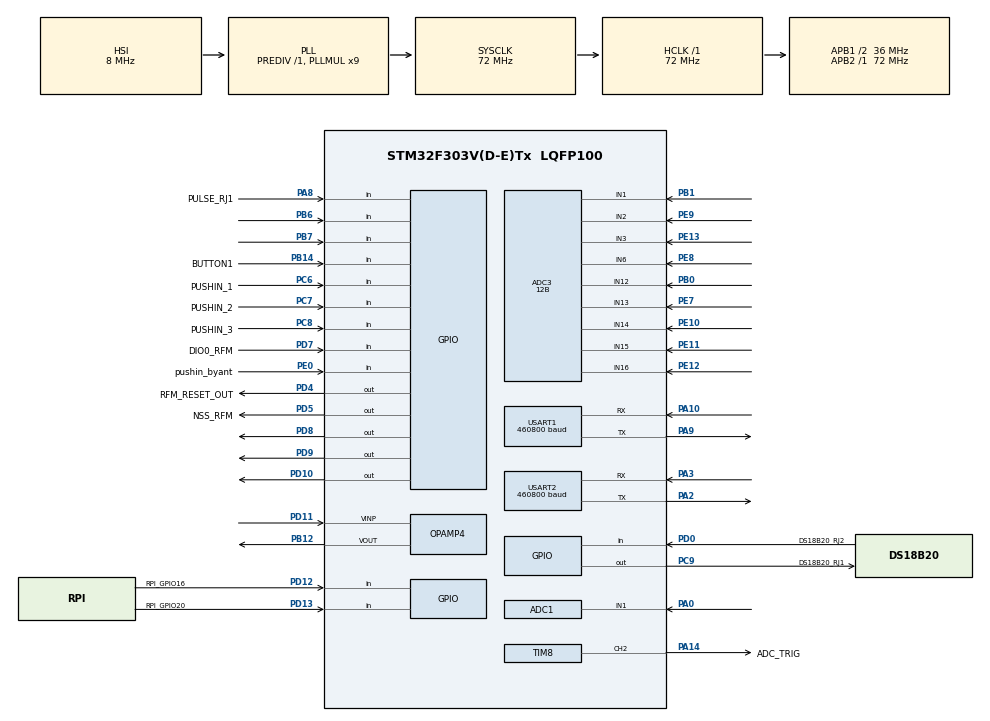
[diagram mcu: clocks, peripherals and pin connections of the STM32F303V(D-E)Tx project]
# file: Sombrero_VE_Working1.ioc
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ADC1.Channel-0\#ChannelRegularConversion=ADC_CHANNEL_1
ADC1.ClockPrescaler=ADC_CLOCK_SYNC_PCLK_DIV4
ADC1.ContinuousConvMode=ENABLE
ADC1.DMAContinuousRequests=ENABLE
ADC1.DataAlign=ADC_DATAALIGN_RIGHT
ADC1.DiscontinuousConvMode=DISABLE
ADC1.EOCSelection=ADC_EOC_SEQ_CONV
ADC1.EnableAnalogWatchDog1=false
ADC1.EnableAnalogWatchDog2=false
ADC1.EnableAnalogWatchDog3=false
ADC1.EnableInjectedConversion=DISABLE
ADC1.EnableRegularConversion=ENABLE
ADC1.ExternalTrigConv=ADC_EXTERNALTRIGCONV_T8_TRGO2
ADC1.ExternalTrigConvEdge=ADC_EXTERNALTRIGCONVEDGE_FALLING
ADC1.LowPowerAutoWait=DISABLE
ADC1.NbrOfConversion=1
ADC1.NbrOfConversionFlag=1
ADC1.Offset-0\#ChannelRegularConversion=0
ADC1.OffsetNumber-0\#ChannelRegularConversion=ADC_OFFSET_NONE
ADC1.Overrun=ADC_OVR_DATA_OVERWRITTEN
ADC1.Rank-0\#ChannelRegularConversion=1
ADC1.Resolution=ADC_RESOLUTION_12B
ADC1.SamplingTime-0\#ChannelRegularConversion=ADC_SAMPLETIME_601CYCLES_5
ADC1.ScanConvMode=ADC_SCAN_DISABLE
ADC1.master=1
ADC3.Channel-0\#ChannelRegularConversion=ADC_CHANNEL_12
ADC3.Channel-1\#ChannelRegularConversion=ADC_CHANNEL_1
ADC3.Channel-2\#ChannelRegularConversion=ADC_CHANNEL_13
ADC3.Channel-3\#ChannelRegularConversion=ADC_CHANNEL_6
ADC3.Channel-4\#ChannelRegularConversion=ADC_CHANNEL_2
ADC3.Channel-5\#ChannelRegularConversion=ADC_CHANNEL_14
ADC3.Channel-6\#ChannelRegularConversion=ADC_CHANNEL_15
ADC3.Channel-7\#ChannelRegularConversion=ADC_CHANNEL_16
ADC3.Channel-8\#ChannelRegularConversion=ADC_CHANNEL_3
ADC3.ClockPrescaler=ADC_CLOCK_SYNC_PCLK_DIV4
ADC3.ContinuousConvMode=ENABLE
ADC3.DMAContinuousRequests=ENABLE
ADC3.DataAlign=ADC_DATAALIGN_RIGHT
ADC3.DiscontinuousConvMode=DISABLE
ADC3.EOCSelection=ADC_EOC_SEQ_CONV
ADC3.EnableAnalogWatchDog1=false
ADC3.EnableAnalogWatchDog2=false
ADC3.EnableAnalogWatchDog3=false
ADC3.EnableInjectedConversion=DISABLE
ADC3.EnableRegularConversion=ENABLE
ADC3.ExternalTrigConv=ADC_EXTERNALTRIGCONV_T8_TRGO2
ADC3.ExternalTrigConvEdge=ADC_EXTERNALTRIGCONVEDGE_FALLING
ADC3.LowPowerAutoWait=DISABLE
ADC3.NbrOfConversion=9
ADC3.NbrOfConversionFlag=1
ADC3.Offset-0\#ChannelRegularConversion=0
ADC3.Offset-1\#ChannelRegularConversion=0
ADC3.Offset-2\#ChannelRegularConversion=0
ADC3.Offset-3\#ChannelRegularConversion=0
ADC3.Offset-4\#ChannelRegularConversion=0
ADC3.Offset-5\#ChannelRegularConversion=0
ADC3.Offset-6\#ChannelRegularConversion=0
ADC3.Offset-7\#ChannelRegularConversion=0
ADC3.Offset-8\#ChannelRegularConversion=0
ADC3.OffsetNumber-0\#ChannelRegularConversion=ADC_OFFSET_NONE
ADC3.OffsetNumber-1\#ChannelRegularConversion=ADC_OFFSET_NONE
ADC3.OffsetNumber-2\#ChannelRegularConversion=ADC_OFFSET_NONE
ADC3.OffsetNumber-3\#ChannelRegularConversion=ADC_OFFSET_NONE
ADC3.OffsetNumber-4\#ChannelRegularConversion=ADC_OFFSET_NONE
ADC3.OffsetNumber-5\#ChannelRegularConversion=ADC_OFFSET_NONE
ADC3.OffsetNumber-6\#ChannelRegularConversion=ADC_OFFSET_NONE
ADC3.OffsetNumber-7\#ChannelRegularConversion=ADC_OFFSET_NONE
ADC3.OffsetNumber-8\#ChannelRegularConversion=ADC_OFFSET_NONE
ADC3.Overrun=ADC_OVR_DATA_OVERWRITTEN
ADC3.Rank-0\#ChannelRegularConversion=1
ADC3.Rank-1\#ChannelRegularConversion=2
ADC3.Rank-2\#ChannelRegularConversion=3
ADC3.Rank-3\#ChannelRegularConversion=4
ADC3.Rank-4\#ChannelRegularConversion=5
ADC3.Rank-5\#ChannelRegularConversion=6
ADC3.Rank-6\#ChannelRegularConversion=7
ADC3.Rank-7\#ChannelRegularConversion=8
ADC3.Rank-8\#ChannelRegularConversion=9
ADC3.Resolution=ADC_RESOLUTION_12B
ADC3.SamplingTime-0\#ChannelRegularConversion=ADC_SAMPLETIME_601CYCLES_5
ADC3.SamplingTime-1\#ChannelRegularConversion=ADC_SAMPLETIME_601CYCLES_5
ADC3.SamplingTime-2\#ChannelRegularConversion=ADC_SAMPLETIME_601CYCLES_5
ADC3.SamplingTime-3\#ChannelRegularConversion=ADC_SAMPLETIME_601CYCLES_5
ADC3.SamplingTime-4\#ChannelRegularConversion=ADC_SAMPLETIME_601CYCLES_5
ADC3.SamplingTime-5\#ChannelRegularConversion=ADC_SAMPLETIME_601CYCLES_5
ADC3.SamplingTime-6\#ChannelRegularConversion=ADC_SAMPLETIME_601CYCLES_5
ADC3.SamplingTime-7\#ChannelRegularConversion=ADC_SAMPLETIME_601CYCLES_5
ADC3.SamplingTime-8\#ChannelRegularConversion=ADC_SAMPLETIME_601CYCLES_5
ADC3.ScanConvMode=ADC_SCAN_ENABLE
ADC3.master=1
Dma.ADC1.0.Direction=DMA_PERIPH_TO_MEMORY
Dma.ADC1.0.Instance=DMA1_Channel1
Dma.ADC1.0.MemDataAlignment=DMA_MDATAALIGN_HALFWORD
Dma.ADC1.0.MemInc=DMA_MINC_ENABLE
Dma.ADC1.0.Mode=DMA_CIRCULAR
Dma.ADC1.0.PeriphDataAlignment=DMA_PDATAALIGN_HALFWORD
Dma.ADC1.0.PeriphInc=DMA_PINC_DISABLE
Dma.ADC1.0.Priority=DMA_PRIORITY_HIGH
Dma.ADC3.1.Direction=DMA_PERIPH_TO_MEMORY
Dma.ADC3.1.Instance=DMA2_Channel5
Dma.ADC3.1.MemDataAlignment=DMA_MDATAALIGN_HALFWORD
Dma.ADC3.1.MemInc=DMA_MINC_ENABLE
Dma.ADC3.1.Mode=DMA_CIRCULAR
Dma.ADC3.1.PeriphDataAlignment=DMA_PDATAALIGN_HALFWORD
Dma.ADC3.1.PeriphInc=DMA_PINC_DISABLE
Dma.ADC3.1.Priority=DMA_PRIORITY_HIGH
Dma.Request0=ADC1
Dma.Request1=ADC3
Dma.Request2=USART1_RX
Dma.Request3=USART1_TX
Dma.USART1_RX.2.Direction=DMA_PERIPH_TO_MEMORY
Dma.USART1_RX.2.Instance=DMA1_Channel5
Dma.USART1_RX.2.MemDataAlignment=DMA_MDATAALIGN_BYTE
Dma.USART1_RX.2.MemInc=DMA_MINC_ENABLE
Dma.USART1_RX.2.Mode=DMA_NORMAL
Dma.USART1_RX.2.PeriphDataAlignment=DMA_PDATAALIGN_BYTE
Dma.USART1_RX.2.PeriphInc=DMA_PINC_DISABLE
Dma.USART1_RX.2.Priority=DMA_PRIORITY_LOW
Dma.USART1_TX.3.Direction=DMA_MEMORY_TO_PERIPH
Dma.USART1_TX.3.Instance=DMA1_Channel4
Dma.USART1_TX.3.MemDataAlignment=DMA_MDATAALIGN_BYTE
Dma.USART1_TX.3.MemInc=DMA_MINC_ENABLE
Dma.USART1_TX.3.Mode=DMA_NORMAL
Dma.USART1_TX.3.PeriphDataAlignment=DMA_PDATAALIGN_BYTE
Dma.USART1_TX.3.PeriphInc=DMA_PINC_DISABLE
Dma.USART1_TX.3.Priority=DMA_PRIORITY_LOW
Mcu.Family=STM32F3
Mcu.Name=STM32F303V(D-E)Tx
Mcu.Package=LQFP100
NVIC.ADC1_2_IRQn=true\:0\:0\:false\:false\:true\:true
NVIC.ADC3_IRQn=true\:0\:0\:false\:false\:true\:true
NVIC.DMA1_Channel1_IRQn=true\:0\:0\:false\:false\:true\:false
NVIC.DMA1_Channel4_IRQn=true\:0\:0\:false\:false\:true\:false
NVIC.DMA1_Channel5_IRQn=true\:0\:0\:false\:false\:true\:false
NVIC.DMA2_Channel5_IRQn=true\:0\:0\:false\:false\:true\:false
NVIC.PriorityGroup=NVIC_PRIORITYGROUP_4
NVIC.USART1_IRQn=true\:0\:0\:false\:false\:true\:true
OPAMP4.SelfCalibration=Disable
PA0.Mode=IN1-Single-Ended
PA0.Signal=ADC1_IN1
PA10.Mode=Asynchronous
PA10.Signal=USART1_RX
PA14.GPIO_Label=ADC_TRIG
PA14.GPIO_PuPd=GPIO_NOPULL
PA14.Signal=S_TIM8_CH2
PA15.Signal=SPI1_NSS
PA2.Mode=Asynchronous
PA2.Signal=USART2_TX
PA3.Mode=Asynchronous
PA3.Signal=USART2_RX
PA8.GPIO_Label=PULSE_RJ1
PA8.Signal=GPIO_Input
PA9.Mode=Asynchronous
PA9.Signal=USART1_TX
PB0.Mode=IN12-Single-Ended
PB0.Signal=ADC3_IN12
PB1.Mode=IN1-Single-Ended
PB1.Signal=ADC3_IN1
PB12.Mode=Follower
PB12.Signal=OPAMP4_VOUT
PB14.GPIO_Label=BUTTON1
PB14.Signal=GPIO_Input
PB3.Signal=SPI1_SCK
PB4.Signal=SPI1_MISO
PB5.Signal=SPI1_MOSI
PB6.Signal=GPIO_Input
PB7.Signal=GPIO_Input
PB8.Signal=USART3_RX
PB9.Signal=USART3_TX
PC10.Signal=UART4_TX
PC11.Signal=UART4_RX
PC14-OSC32_IN.Mode=LSE-External-Oscillator
PC14-OSC32_IN.Signal=RCC_OSC32_IN
PC15-OSC32_OUT.Mode=LSE-External-Oscillator
PC15-OSC32_OUT.Signal=RCC_OSC32_OUT
PC6.GPIO_Label=PUSHIN_1
PC6.Signal=GPIO_Input
PC7.GPIO_Label=PUSHIN_2
PC7.Signal=GPIO_Input
PC8.GPIO_Label=PUSHIN_3
PC8.Signal=GPIO_Input
PC9.GPIO_Label=DS18B20_RJ1
PC9.Signal=GPIO_Output
PD0.GPIO_Label=DS18B20_RJ2
PD0.Signal=GPIO_Input
PD10.Signal=GPIO_Output
PD11.Mode=Follower
PD11.Signal=OPAMP4_VINP
PD12.GPIO_Label=RPI_GPIO16
PD12.Signal=GPIO_Input
PD13.GPIO_Label=RPI_GPIO20
PD13.Signal=GPIO_Input
PD4.GPIO_Label=RFM_RESET_OUT
PD4.Signal=GPIO_Output
PD5.GPIO_Label=NSS_RFM
PD5.Signal=GPIO_Output
PD7.GPIO_Label=DIO0_RFM
PD7.Signal=GPIO_Input
PD8.Signal=GPIO_Output
PD9.Signal=GPIO_Output
PE0.GPIO_Label=pushin_byant
PE0.Signal=GPIO_Input
PE10.Mode=IN14-Single-Ended
PE10.Signal=ADC3_IN14
PE11.Mode=IN15-Single-Ended
PE11.Signal=ADC3_IN15
PE12.Mode=IN16-Single-Ended
PE12.Signal=ADC3_IN16
PE13.Mode=IN3-Single-Ended
PE13.Signal=ADC3_IN3
PE7.Mode=IN13-Single-Ended
PE7.Signal=ADC3_IN13
PE8.Signal=ADCx_IN6P
PE9.Mode=IN2-Single-Ended
PE9.Signal=ADC3_IN2
PF0-OSC_IN.Mode=HSE-External-Oscillator
PF0-OSC_IN.Signal=RCC_OSC_IN
PF1-OSC_OUT.Mode=HSE-External-Oscillator
PF1-OSC_OUT.Signal=RCC_OSC_OUT
ProjectManager.HeapSize=0x200
ProjectManager.StackSize=0x400
ProjectManager.TargetToolchain=Makefile
RCC.AHBFreq_Value=72000000
RCC.APB1CLKDivider=RCC_HCLK_DIV2
RCC.APB1Freq_Value=36000000
RCC.APB1TimFreq_Value=72000000
RCC.APB2Freq_Value=72000000
RCC.APB2TimFreq_Value=72000000
RCC.CortexFreq_Value=72000000
RCC.HCLKFreq_Value=72000000
RCC.HSE_VALUE=8000000
RCC.HSI_VALUE=8000000
RCC.I2c1ClockSelection=RCC_I2C1CLKSOURCE_SYSCLK
RCC.PLLMUL=RCC_PLL_MUL9
RCC.PRESCALERUSB=RCC_USBCLKSOURCE_PLL_DIV1_5
RCC.RTCClockSelection=RCC_RTCCLKSOURCE_LSE
RCC.SYSCLKFreq_VALUE=72000000
RCC.SYSCLKSourceVirtual=RCC_SYSCLKSOURCE_PLLCLK
RCC.USBFreq_Value=48000000
RCC.Uart4ClockSelection=RCC_UART4CLKSOURCE_SYSCLK
RCC.Usart1ClockSelection=RCC_USART1CLKSOURCE_SYSCLK
RCC.Usart2ClockSelection=RCC_USART2CLKSOURCE_SYSCLK
RCC.Usart3ClockSelection=RCC_USART3CLKSOURCE_SYSCLK
SH.ADCx_IN6P.0=ADC3_IN6,IN6-Single-Ended
SH.S_TIM8_CH2.0=TIM8_CH2,PWM Generation2 CH2
TIM8.Channel-PWM\ Generation2\ CH2=TIM_CHANNEL_2
TIM8.OCFastMode_PWM-PWM\ Generation2\ CH2=TIM_OCFAST_DISABLE
TIM8.Period=9999
TIM8.Prescaler=71
TIM8.TIM_MasterOutputTrigger2=TIM_TRGO2_OC2REF
USART1.BaudRate=460800
USART1.DMADisableonRxErrorParam=ADVFEATURE_DMA_DISABLEONRXERROR
USART1.VirtualMode-Asynchronous=VM_ASYNC
USART2.BaudRate=460800
USART2.DMADisableonRxErrorParam=ADVFEATURE_DMA_DISABLEONRXERROR
USART2.VirtualMode-Asynchronous=VM_ASYNC
board=custom

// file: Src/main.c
/**
  ******************************************************************************
  * @file           : main.c
  * @brief          : Main program body
  ******************************************************************************
  ** This notice applies to any and all portions of this file
  * that are not between comment pairs USER CODE BEGIN and
  * USER CODE END. Other portions of this file, whether
  * inserted by the user or by software development tools
  * are owned by their respective copyright owners.
  *
  * COPYRIGHT(c) 2020 STMicroelectronics
  *
  * Redistribution and use in source and binary forms, with or without modification,
  * are permitted provided that the following conditions are met:
  *   1. Redistributions of source code must retain the above copyright notice,
  *      this list of conditions and the following disclaimer.
  *   2. Redistributions in binary form must reproduce the above copyright notice,
  *      this list of conditions and the following disclaimer in the documentation
  *      and/or other materials provided with the distribution.
  *   3. Neither the name of STMicroelectronics nor the names of its contributors
  *      may be used to endorse or promote products derived from this software
  *      without specific prior written permission.
  *
  * THIS SOFTWARE IS PROVIDED BY THE COPYRIGHT HOLDERS AND CONTRIBUTORS "AS IS"
  * AND ANY EXPRESS OR IMPLIED WARRANTIES, INCLUDING, BUT NOT LIMITED TO, THE
  * IMPLIED WARRANTIES OF MERCHANTABILITY AND FITNESS FOR A PARTICULAR PURPOSE ARE
  * DISCLAIMED. IN NO EVENT SHALL THE COPYRIGHT HOLDER OR CONTRIBUTORS BE LIABLE
  * FOR ANY DIRECT, INDIRECT, INCIDENTAL, SPECIAL, EXEMPLARY, OR CONSEQUENTIAL
  * DAMAGES (INCLUDING, BUT NOT LIMITED TO, PROCUREMENT OF SUBSTITUTE GOODS OR
  * SERVICES; LOSS OF USE, DATA, OR PROFITS; OR BUSINESS INTERRUPTION) HOWEVER
  * CAUSED AND ON ANY THEORY OF LIABILITY, WHETHER IN CONTRACT, STRICT LIABILITY,
  * OR TORT (INCLUDING NEGLIGENCE OR OTHERWISE) ARISING IN ANY WAY OUT OF THE USE
  * OF THIS SOFTWARE, EVEN IF ADVISED OF THE POSSIBILITY OF SUCH DAMAGE.
  *
  ******************************************************************************
  */
#include "main.h"
#include "stm32f3xx_hal.h"
#include "adc.h"
#include "dma.h"
#include "opamp.h"
#include "tim.h"
#include "usart.h"
#include "gpio.h"

/* USER CODE BEGIN Includes */
#include <math.h>
#include <string.h>
#include <stdbool.h>
#include <stdint.h>
/* USER CODE END Includes */

/* USER CODE BEGIN PV */
/* Private variables ---------------------------------------------------------*/

//#define true 1
//#define false 0
#define MID_ADC_READING 2048
int cycles = 125;
// Serial output buffer
extern char log_buffer[150];

// Flag
bool readings_ready = false;
bool CLEAR_TO_GO = true;

extern const uint16_t adc_buff_half_size;

// Calibration
const float VOLTS_PER_DIV = (3.3 / 4096.0);
//float VCAL = 266.1238757156; // note - single-phase board
//float VCAL = 224.4135906687; // note - 3-phase board
float VCAL = 236.660160908; // dan's custom ac-ac adaptor
float ICAL = 90.9;

// ISR accumulators
typedef struct channel_
{
  int64_t sum_P;
  uint64_t sum_V_sq;
  uint64_t sum_I_sq;
  int32_t sum_V;
  int32_t sum_I;
  uint32_t count;

} channel_t;

uint32_t pulseCount = 0;

static channel_t channels[CTn];
static channel_t channels_ready[CTn];

int16_t sample_V, sample_I, signed_V, signed_I;
int16_t sample_V_Hz, signed_V_Hz, previous_V_Hz, cycles_Hz;
bool hz_ready = 0;
int32_t Hz_t1 = 0;

#define Hz_ARRAY_SIZE 20
uint32_t Hz_array[Hz_ARRAY_SIZE] = {0};
int Hz_array_counter = 0;
uint32_t Hz_sum = 0;
bool Hz_value_ready = false;

/* USER CODE END PV */

void SystemClock_Config(void);

/* USER CODE BEGIN PFP */
/* Private function prototypes -----------------------------------------------*/

/* USER CODE END PFP */

/* USER CODE BEGIN 0 */
void process_frame(uint16_t offset)
{
  HAL_GPIO_WritePin(GPIOD, GPIO_PIN_10, GPIO_PIN_SET);
  CLEAR_TO_GO = false;

  for (int i = 0; i < adc_buff_half_size; i += CTn)
  {

    // zero-crossing detection //
    sample_V_Hz = adc1_dma_buff[offset + i];
    signed_V_Hz = sample_V_Hz - MID_ADC_READING;

    if (signed_V_Hz > 0 && previous_V_Hz < 0)
    {
      previous_V_Hz = signed_V_Hz;
      cycles_Hz++;
    }
    else
    {
      previous_V_Hz = signed_V_Hz;
    }

    // for example, 125 upwards-only-zero-crossings approx 2.5 seconds @ 50Hz.
    if (cycles_Hz == cycles)
    {
      cycles_Hz = 0;
      hz_ready = true;
    }

    if (hz_ready)
    {

      hz_ready = false;

      // copy and reset accu.
      for (int ch = 0; ch < CTn; ch++)
      {
        channel_t *channel = &channels[ch];
        channel_t *chn = &channels_ready[ch];
        // Copy accumulators for use in main loop
        memcpy((void *)chn, (void *)channel, sizeof(channel_t));
        // Reset accumulators to zero ready for next set of measurements
        memset((void *)channel, 0, sizeof(channel_t));
      }

      readings_ready = true;
    }

    // Cycle through channels, accumulating
    for (int ch = 0; ch < CTn; ch++)
    {

      channel_t *channel = &channels[ch];

      // ----------------------------------------
      // Voltage
      sample_V = adc1_dma_buff[offset + i + ch];
      signed_V = sample_V - MID_ADC_READING;
      channel->sum_V += signed_V;
      channel->sum_V_sq += signed_V * signed_V;
      // ----------------------------------------
      // Current
      sample_I = adc3_dma_buff[offset + i + ch];
      signed_I = sample_I - MID_ADC_READING;
      channel->sum_I += signed_I;
      channel->sum_I_sq += signed_I * signed_I;
      // ----------------------------------------
      // Power
      channel->sum_P += signed_V * signed_I;

      channel->count++;
    }
  }
  CLEAR_TO_GO = true;
  HAL_GPIO_WritePin(GPIOD, GPIO_PIN_10, GPIO_PIN_RESET);
}

/* USER CODE END 0 */

int main(void)
{
  /* USER CODE BEGIN 1 */
  float V_RATIO = VCAL * VOLTS_PER_DIV;
  float I_RATIO = ICAL * VOLTS_PER_DIV;
  /* USER CODE END 1 */

  /* MCU Configuration----------------------------------------------------------*/

  /* Reset of all peripherals, Initializes the Flash interface and the Systick. */
  HAL_Init();

  /* Configure the system clock */
  SystemClock_Config();

  /* Initialize all configured peripherals */
  MX_GPIO_Init();
  MX_DMA_Init();
  MX_USART2_UART_Init();
  MX_OPAMP4_Init();
  MX_ADC3_Init();
  MX_TIM8_Init();
  MX_ADC1_Init();
  MX_USART1_UART_Init();
  /* USER CODE BEGIN 2 */

  debug_printf("start, conn. VT\r\n");
  sprintf(log_buffer, "%d\r\n", adc_buff_half_size);

  HAL_ADCEx_Calibration_Start(&hadc1, ADC_SINGLE_ENDED);
  HAL_ADCEx_Calibration_Start(&hadc3, ADC_SINGLE_ENDED);

  HAL_OPAMP_Start(&hopamp4);

  HAL_Delay(2);

  start_ADCs();

  /* USER CODE END 2 */

  /* Infinite loop */
  /* USER CODE BEGIN WHILE */

  while (1)
  {
    if (conv_cplt_flag)
    {
      conv_cplt_flag = false;
      process_frame(0);
    }
    if (conv_hfcplt_flag)
    {
      conv_hfcplt_flag = false;
      process_frame(adc_buff_half_size);
    }

    if (readings_ready && CLEAR_TO_GO)
    {
      HAL_GPIO_WritePin(GPIOD, GPIO_PIN_9, GPIO_PIN_SET);
      readings_ready = false;
      //process_ds18b20s();

      for (int ch = 0; ch < CTn; ch++)
      {
        channel_t *chn = &channels_ready[ch];

        float Vmean = (float)chn->sum_V / (float)chn->count;
        float Imean = (float)chn->sum_I / (float)chn->count;

        float f32sum_V_sq_avg = (float)chn->sum_V_sq / (float)chn->count;
        f32sum_V_sq_avg -= (Vmean * Vmean); // offset removal

        float f32sum_I_sq_avg = (float)chn->sum_I_sq / (float)chn->count;
        f32sum_I_sq_avg -= (Imean * Imean); // offset removal

        if (f32sum_V_sq_avg < 0) // if offset removal cause a negative number,
          f32sum_V_sq_avg = 0;   // make it 0 to avoid a nan at sqrt.
        if (f32sum_I_sq_avg < 0)
          f32sum_I_sq_avg = 0;

        float Vrms = V_RATIO * sqrtf(f32sum_V_sq_avg);
        float Irms = I_RATIO * sqrtf(f32sum_I_sq_avg);

        float f32_sum_P_avg = (float)chn->sum_P / (float)chn->count;
        float mean_P = f32_sum_P_avg - (Vmean * Imean); // offset removal
        float realPower = V_RATIO * I_RATIO * mean_P;

        float apparentPower = Vrms * Irms;

        float powerFactor;
        // calculate PF, preventing dividing by zero error.
        if (apparentPower != 0)
        {
          powerFactor = realPower / apparentPower;
        }
        else
          powerFactor = 0;

        int _ch = ch + 1;
        sprintf(log_buffer, "V%d:%.2f,I%d:%.3f,RP%d:%.1f,AP%d:%.1f,PF%d:%.3f,C%d:%ld,", _ch, Vrms, _ch, Irms, _ch, realPower, _ch, apparentPower, _ch, powerFactor, _ch, chn->count);
        rPi_printf(log_buffer);
        debug_printf(log_buffer);

        uint32_t current_millis = HAL_GetTick();
        sprintf(log_buffer, "millis:%ld\r\n", current_millis);
        debug_printf(log_buffer);
      }
      uint32_t current_millis = HAL_GetTick();
      sprintf(log_buffer, "millis:%ld,", current_millis);
      rPi_printf(log_buffer);
      sprintf(log_buffer, "PC:%ld,", pulseCount);
      rPi_printf(log_buffer);

      uint32_t Hz_t2 = HAL_GetTick();
      uint32_t Hz_td = (Hz_t2 - Hz_t1);
      //sprintf(log_buffer, "Hz_td:%ld\r\n", Hz_td);
      //debug_printf(log_buffer);

      Hz_array[Hz_array_counter] = Hz_td;
      Hz_array_counter++;
      //if (Hz_array_counter
      //sprintf(log_buffer, "Hz_array_counter:%d\r\n", Hz_array_counter);
      //debug_printf(log_buffer);
      Hz_t1 = Hz_t2;
      if (Hz_array_counter >= Hz_ARRAY_SIZE)
      {
        Hz_value_ready = true;
        Hz_array_counter = 0;
      }
      for (int i = 0; i < Hz_ARRAY_SIZE; i++)
      {
        //sprintf(log_buffer, "Hz_ARRAY:%ld :%d\r\n", Hz_array[i], i);
        //debug_printf(log_buffer);
        Hz_sum += Hz_array[i];
      }
      //}
      float Hz_value = 1000.0/((float)Hz_sum / (cycles*Hz_ARRAY_SIZE));
      sprintf(log_buffer, "Hz_sum:%.2f,Ready:%d\r\n", Hz_value, Hz_value_ready);
      rPi_printf(log_buffer);
      Hz_sum = 0;

      HAL_GPIO_WritePin(GPIOD, GPIO_PIN_9, GPIO_PIN_RESET);
    }
  /* USER CODE END WHILE */

  }

}

void SystemClock_Config(void)
{

  RCC_OscInitTypeDef RCC_OscInitStruct;
  RCC_ClkInitTypeDef RCC_ClkInitStruct;
  RCC_PeriphCLKInitTypeDef PeriphClkInit;

    /**Initializes the CPU, AHB and APB busses clocks
    */
  RCC_OscInitStruct.OscillatorType = RCC_OSCILLATORTYPE_HSI;
  RCC_OscInitStruct.HSIState = RCC_HSI_ON;
  RCC_OscInitStruct.HSICalibrationValue = 16;
  RCC_OscInitStruct.PLL.PLLState = RCC_PLL_ON;
  RCC_OscInitStruct.PLL.PLLSource = RCC_PLLSOURCE_HSI;
  RCC_OscInitStruct.PLL.PLLMUL = RCC_PLL_MUL9;
  RCC_OscInitStruct.PLL.PREDIV = RCC_PREDIV_DIV1;
  if (HAL_RCC_OscConfig(&RCC_OscInitStruct) != HAL_OK)
  {
    _Error_Handler(__FILE__, __LINE__);
  }

    /**Initializes the CPU, AHB and APB busses clocks
    */
  RCC_ClkInitStruct.ClockType = RCC_CLOCKTYPE_HCLK|RCC_CLOCKTYPE_SYSCLK
                              |RCC_CLOCKTYPE_PCLK1|RCC_CLOCKTYPE_PCLK2;
  RCC_ClkInitStruct.SYSCLKSource = RCC_SYSCLKSOURCE_PLLCLK;
  RCC_ClkInitStruct.AHBCLKDivider = RCC_SYSCLK_DIV1;
  RCC_ClkInitStruct.APB1CLKDivider = RCC_HCLK_DIV2;
  RCC_ClkInitStruct.APB2CLKDivider = RCC_HCLK_DIV1;

  if (HAL_RCC_ClockConfig(&RCC_ClkInitStruct, FLASH_LATENCY_2) != HAL_OK)
  {
    _Error_Handler(__FILE__, __LINE__);
  }

  PeriphClkInit.PeriphClockSelection = RCC_PERIPHCLK_USART1|RCC_PERIPHCLK_USART2
                              |RCC_PERIPHCLK_TIM8;
  PeriphClkInit.Usart1ClockSelection = RCC_USART1CLKSOURCE_SYSCLK;
  PeriphClkInit.Usart2ClockSelection = RCC_USART2CLKSOURCE_SYSCLK;
  PeriphClkInit.Tim8ClockSelection = RCC_TIM8CLK_HCLK;
  if (HAL_RCCEx_PeriphCLKConfig(&PeriphClkInit) != HAL_OK)
  {
    _Error_Handler(__FILE__, __LINE__);
  }

    /**Configure the Systick interrupt time
    */
  HAL_SYSTICK_Config(HAL_RCC_GetHCLKFreq()/1000);

    /**Configure the Systick
    */
  HAL_SYSTICK_CLKSourceConfig(SYSTICK_CLKSOURCE_HCLK);

  /* SysTick_IRQn interrupt configuration */
  HAL_NVIC_SetPriority(SysTick_IRQn, 0, 0);
}

void _Error_Handler(char *file, int line)
{
  /* USER CODE BEGIN Error_Handler_Debug */
  /* User can add his own implementation to report the HAL error return state */
  while (1)
  {
    sprintf(log_buffer, "sys_error:%s,line:%d", file, line);
    debug_printf(log_buffer);
  }
  /* USER CODE END Error_Handler_Debug */
}

/************************ (C) COPYRIGHT STMicroelectronics *****END OF FILE****/
